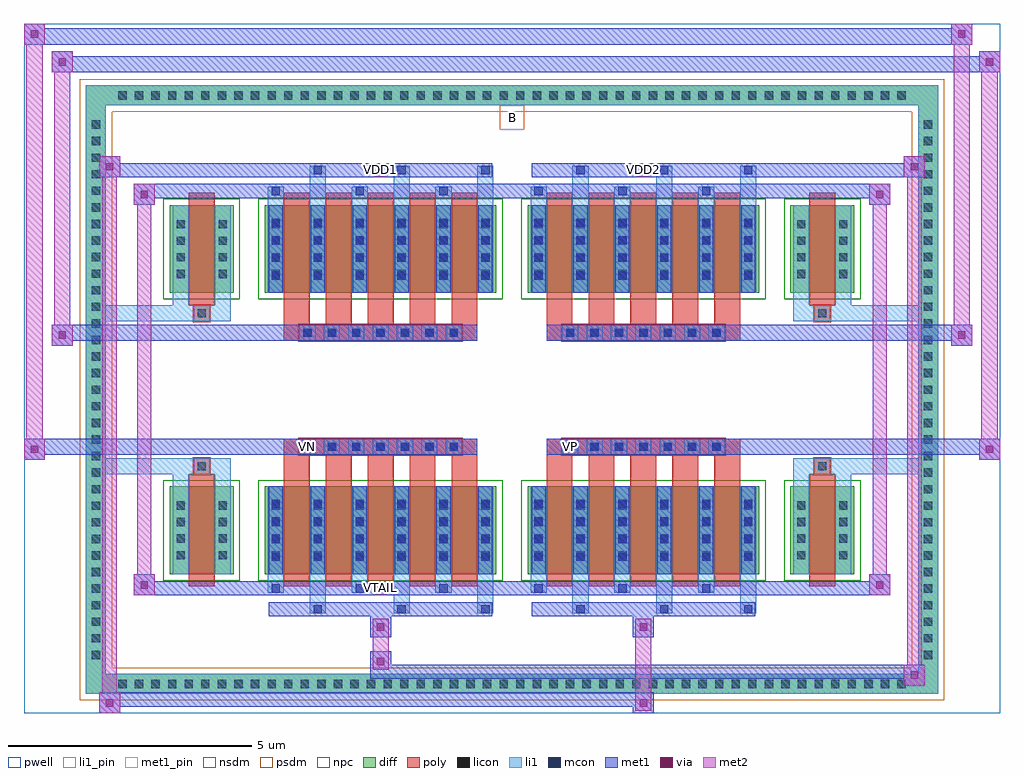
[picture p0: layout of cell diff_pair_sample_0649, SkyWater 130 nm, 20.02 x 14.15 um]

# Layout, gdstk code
import gdstk
lib = gdstk.Library(unit=1e-6, precision=5e-09)
def R(c, l, rs):  # rectangles x0, y0, x1, y1
    for r in rs: c.add(gdstk.rectangle(r[:2], r[2:], *l))
def A(c, l, x, y, w, h, nx, ny, dx, dy):  # array of equal rectangles
    R(c, l, [(x+i*dx, y+j*dy, x+i*dx+w, y+j*dy+h) for i in range(nx) for j in range(ny)])
def P(c, l, *ps):  # polygons
    for p in ps: c.add(gdstk.Polygon(p, *l))
pwell = (64, 44)
diff = (65, 20)
poly = (66, 20)
licon = (66, 44)
li1_pin = (67, 16)
li1 = (67, 20)
mcon = (67, 44)
met1_pin = (68, 16)
met1 = (68, 20)
via = (68, 44)
met2 = (69, 20)
nsdm = (93, 44)
psdm = (94, 20)
npc = (95, 20)

diff_pair_sample_0649 = lib.new_cell('diff_pair_sample_0649')
R(diff_pair_sample_0649, pwell, [(-10.01,-6.64,10.01,7.51), (-7.33,-4.83,-0.01,-0.805), (0.01,-4.83,7.33,-0.805), (-7.33,0.805,-0.01,4.83), (0.01,0.805,7.33,4.83)])
A(diff_pair_sample_0649, diff, -8.195, -6.24, 0.41, 0.41, 48, 2, 0.34, 12.07)
A(diff_pair_sample_0649, diff, -8.74, -5.645, 0.41, 0.41, 1, 33, 0, 0.34)
A(diff_pair_sample_0649, diff, 8.33, -5.645, 0.41, 0.41, 1, 33, 0, 0.34)
R(diff_pair_sample_0649, diff, [(-8.195,-6.24,8.195,-5.83), (-8.74,-5.645,-8.33,5.645), (8.33,-5.645,8.74,5.645), (-7.02,-3.785,-5.71,-1.985), (-5.07,-3.785,-0.32,-1.985), (0.32,-3.785,5.07,-1.985), (5.71,-3.785,7.02,-1.985), (-7.02,1.985,-5.71,3.785), (-5.07,1.985,-0.32,3.785), (0.32,1.985,5.07,3.785), (5.71,1.985,7.02,3.785), (-8.195,5.83,8.195,6.24)])
P(diff_pair_sample_0649, diff, [(8.74,6.24),(-8.74,6.24),(-8.74,-5.83),(-8.33,-5.83),(-8.33,5.83),(8.33,5.83),(8.33,-5.83),(-8.33,-5.83),(-8.74,-5.83),(-8.74,-6.24),(8.74,-6.24)])
A(diff_pair_sample_0649, poly, -4.68, -4.035, 0.53, 2.3, 5, 2, 0.86, 5.77)
A(diff_pair_sample_0649, poly, 0.71, -4.035, 0.53, 2.3, 5, 2, 0.86, 5.77)
A(diff_pair_sample_0649, poly, -4.68, -1.735, 0.53, 0.4, 5, 2, 0.86, 3.07)
A(diff_pair_sample_0649, poly, 0.71, -1.735, 0.53, 0.4, 5, 2, 0.86, 3.07)
A(diff_pair_sample_0649, poly, -4.36, -1.335, 0.33, 0.33, 7, 2, 0.5, 2.34)
A(diff_pair_sample_0649, poly, 1.03, -1.335, 0.33, 0.33, 7, 2, 0.5, 2.34)
R(diff_pair_sample_0649, poly, [(-6.63,-4.035,-6.1,-1.735), (6.1,-4.035,6.63,-1.735), (-6.53,-1.735,-6.2,-1.405), (-6.53,-1.735,-6.2,-1.405), (6.2,-1.735,6.53,-1.405), (6.2,-1.735,6.53,-1.405), (-4.68,-1.335,-0.71,-1.005), (0.71,-1.335,4.68,-1.005), (-4.68,1.005,-0.71,1.335), (0.71,1.005,4.68,1.335), (-6.53,1.405,-6.2,1.735), (-6.53,1.405,-6.2,1.735), (6.2,1.405,6.53,1.735), (6.2,1.405,6.53,1.735), (-6.63,1.735,-6.1,4.035), (6.1,1.735,6.63,4.035)])
A(diff_pair_sample_0649, licon, -8.075, -6.12, 0.17, 0.17, 48, 2, 0.34, 12.07)
A(diff_pair_sample_0649, licon, -8.62, -5.525, 0.17, 0.17, 1, 33, 0, 0.34)
A(diff_pair_sample_0649, licon, 8.45, -5.525, 0.17, 0.17, 1, 33, 0, 0.34)
A(diff_pair_sample_0649, licon, -6.88, -3.48, 0.17, 0.17, 1, 4, 0, 0.34)
A(diff_pair_sample_0649, licon, -6.02, -3.48, 0.17, 0.17, 1, 4, 0, 0.34)
A(diff_pair_sample_0649, licon, -4.93, -3.48, 0.17, 0.17, 6, 4, 0.86, 0.34)
A(diff_pair_sample_0649, licon, 0.46, -3.48, 0.17, 0.17, 6, 4, 0.86, 0.34)
A(diff_pair_sample_0649, licon, 5.85, -3.48, 0.17, 0.17, 1, 4, 0, 0.34)
A(diff_pair_sample_0649, licon, 6.71, -3.48, 0.17, 0.17, 1, 4, 0, 0.34)
A(diff_pair_sample_0649, licon, -4.28, -1.255, 0.17, 0.17, 7, 2, 0.5, 2.34)
A(diff_pair_sample_0649, licon, 1.11, -1.255, 0.17, 0.17, 7, 2, 0.5, 2.34)
A(diff_pair_sample_0649, licon, -6.88, 2.29, 0.17, 0.17, 1, 4, 0, 0.34)
A(diff_pair_sample_0649, licon, -6.02, 2.29, 0.17, 0.17, 1, 4, 0, 0.34)
A(diff_pair_sample_0649, licon, -4.93, 2.29, 0.17, 0.17, 6, 4, 0.86, 0.34)
A(diff_pair_sample_0649, licon, 0.46, 2.29, 0.17, 0.17, 6, 4, 0.86, 0.34)
A(diff_pair_sample_0649, licon, 5.85, 2.29, 0.17, 0.17, 1, 4, 0, 0.34)
A(diff_pair_sample_0649, licon, 6.71, 2.29, 0.17, 0.17, 1, 4, 0, 0.34)
R(diff_pair_sample_0649, licon, [(-6.45,-1.655,-6.28,-1.485), (6.28,-1.655,6.45,-1.485), (-6.45,1.485,-6.28,1.655), (6.28,1.485,6.45,1.655)])
R(diff_pair_sample_0649, li1_pin, [(-0.25,5.33,0.25,5.83)])
A(diff_pair_sample_0649, li1, -8.155, -6.2, 0.33, 0.33, 48, 2, 0.34, 12.07)
A(diff_pair_sample_0649, li1, -8.7, -5.605, 0.33, 0.33, 1, 33, 0, 0.34)
A(diff_pair_sample_0649, li1, 8.37, -5.605, 0.33, 0.33, 1, 33, 0, 0.34)
A(diff_pair_sample_0649, li1, -4.15, -4.59, 0.33, 0.805, 3, 2, 1.72, 8.375)
A(diff_pair_sample_0649, li1, -4.07, -4.59, 0.17, 0.17, 3, 2, 1.72, 9.01)
A(diff_pair_sample_0649, li1, 1.24, -4.59, 0.33, 0.805, 3, 2, 1.72, 8.375)
A(diff_pair_sample_0649, li1, 1.32, -4.59, 0.17, 0.17, 3, 2, 1.72, 9.01)
A(diff_pair_sample_0649, li1, -5.01, -4.16, 0.33, 0.375, 3, 2, 1.72, 7.945)
A(diff_pair_sample_0649, li1, -4.93, -4.16, 0.17, 0.17, 3, 2, 1.72, 8.15)
A(diff_pair_sample_0649, li1, 0.38, -4.16, 0.33, 0.375, 3, 2, 1.72, 7.945)
A(diff_pair_sample_0649, li1, 0.46, -4.16, 0.17, 0.17, 3, 2, 1.72, 8.15)
A(diff_pair_sample_0649, li1, -5.01, -3.785, 0.33, 1.8, 6, 2, 0.86, 5.77)
A(diff_pair_sample_0649, li1, 0.38, -3.785, 0.33, 1.8, 6, 2, 0.86, 5.77)
A(diff_pair_sample_0649, li1, -6.96, -3.56, 0.33, 0.33, 1, 4, 0, 0.34)
A(diff_pair_sample_0649, li1, -6.1, -3.56, 0.33, 0.33, 1, 4, 0, 0.34)
A(diff_pair_sample_0649, li1, -5.01, -3.56, 0.33, 0.33, 6, 4, 0.86, 0.34)
A(diff_pair_sample_0649, li1, 0.38, -3.56, 0.33, 0.33, 6, 4, 0.86, 0.34)
A(diff_pair_sample_0649, li1, 5.77, -3.56, 0.33, 0.33, 1, 4, 0, 0.34)
A(diff_pair_sample_0649, li1, 6.63, -3.56, 0.33, 0.33, 1, 4, 0, 0.34)
A(diff_pair_sample_0649, li1, -4.93, -3.51, 0.17, 0.17, 6, 4, 0.86, 0.36)
A(diff_pair_sample_0649, li1, -4.93, -3.51, 0.17, 1.25, 6, 2, 0.86, 5.77)
A(diff_pair_sample_0649, li1, 0.46, -3.51, 0.17, 0.17, 6, 4, 0.86, 0.36)
A(diff_pair_sample_0649, li1, 0.46, -3.51, 0.17, 1.25, 6, 2, 0.86, 5.77)
A(diff_pair_sample_0649, li1, -4.36, -1.335, 0.33, 0.33, 7, 2, 0.5, 2.34)
A(diff_pair_sample_0649, li1, 1.03, -1.335, 0.33, 0.33, 7, 2, 0.5, 2.34)
A(diff_pair_sample_0649, li1, -6.96, 2.21, 0.33, 0.33, 1, 4, 0, 0.34)
A(diff_pair_sample_0649, li1, -6.1, 2.21, 0.33, 0.33, 1, 4, 0, 0.34)
A(diff_pair_sample_0649, li1, -5.01, 2.21, 0.33, 0.33, 6, 4, 0.86, 0.34)
A(diff_pair_sample_0649, li1, 0.38, 2.21, 0.33, 0.33, 6, 4, 0.86, 0.34)
A(diff_pair_sample_0649, li1, 5.77, 2.21, 0.33, 0.33, 1, 4, 0, 0.34)
A(diff_pair_sample_0649, li1, 6.63, 2.21, 0.33, 0.33, 1, 4, 0, 0.34)
A(diff_pair_sample_0649, li1, -4.93, 2.26, 0.17, 0.17, 6, 4, 0.86, 0.36)
A(diff_pair_sample_0649, li1, 0.46, 2.26, 0.17, 0.17, 6, 4, 0.86, 0.36)
R(diff_pair_sample_0649, li1, [(-8.74,-6.24,-8.33,-5.83), (-8.74,-6.24,-8.33,-5.83), (-8.33,-6.24,8.33,-5.83), (8.33,-6.24,8.74,-5.83), (8.33,-6.24,8.74,-5.83), (-8.74,-5.83,-8.33,5.83), (8.33,-5.83,8.74,5.83), (-6.96,-3.785,-6.63,-1.985), (-6.1,-3.785,-5.77,-1.985), (5.77,-3.785,6.1,-1.985), (6.63,-3.785,6.96,-1.985), (-6.96,-1.985,-6.63,-1.405), (-6.1,-1.985,-5.77,-1.405), (5.77,-1.985,6.1,-1.405), (6.63,-1.985,6.96,-1.405), (-8.74,-1.735,-6.53,-1.405), (-6.96,-1.735,-6.53,-1.405), (-6.53,-1.735,-6.2,-1.405), (-6.2,-1.735,-5.77,-1.405), (5.77,-1.735,6.2,-1.405), (6.2,-1.735,6.53,-1.405), (6.2,-1.735,8.74,-1.405), (6.53,-1.735,6.96,-1.405), (-8.74,1.405,-6.53,1.735), (-6.96,1.405,-6.53,1.735), (-6.96,1.405,-6.63,1.985), (-6.53,1.405,-6.2,1.735), (-6.2,1.405,-5.77,1.735), (-6.1,1.405,-5.77,1.985), (5.77,1.405,6.2,1.735), (5.77,1.405,6.1,1.985), (6.2,1.405,6.53,1.735), (6.2,1.405,8.74,1.735), (6.53,1.405,6.96,1.735), (6.63,1.405,6.96,1.985), (-6.96,1.985,-6.63,3.785), (-6.1,1.985,-5.77,3.785), (5.77,1.985,6.1,3.785), (6.63,1.985,6.96,3.785), (-8.74,5.83,-8.33,6.24), (-8.74,5.83,-8.33,6.24), (-8.33,5.83,8.33,6.24), (8.33,5.83,8.74,6.24), (8.33,5.83,8.74,6.24)])
A(diff_pair_sample_0649, mcon, -4.07, -4.59, 0.17, 0.17, 3, 2, 1.72, 9.01)
A(diff_pair_sample_0649, mcon, 1.32, -4.59, 0.17, 0.17, 3, 2, 1.72, 9.01)
A(diff_pair_sample_0649, mcon, -4.93, -4.16, 0.17, 0.17, 3, 2, 1.72, 8.15)
A(diff_pair_sample_0649, mcon, 0.46, -4.16, 0.17, 0.17, 3, 2, 1.72, 8.15)
A(diff_pair_sample_0649, mcon, -4.93, -3.51, 0.17, 0.17, 6, 4, 0.86, 0.36)
A(diff_pair_sample_0649, mcon, 0.46, -3.51, 0.17, 0.17, 6, 4, 0.86, 0.36)
A(diff_pair_sample_0649, mcon, -4.28, -1.255, 0.17, 0.17, 7, 2, 0.5, 2.34)
A(diff_pair_sample_0649, mcon, 1.11, -1.255, 0.17, 0.17, 7, 2, 0.5, 2.34)
A(diff_pair_sample_0649, mcon, -4.93, 2.26, 0.17, 0.17, 6, 4, 0.86, 0.36)
A(diff_pair_sample_0649, mcon, 0.46, 2.26, 0.17, 0.17, 6, 4, 0.86, 0.36)
R(diff_pair_sample_0649, met1_pin, [(-2.83,-4.2,-2.56,-3.93), (-4.33,-1.295,-4.06,-1.025), (1.06,-1.295,1.33,-1.025), (-2.83,4.38,-2.56,4.65), (2.56,4.38,2.83,4.65)])
A(diff_pair_sample_0649, met1, -4.13, -4.65, 0.29, 0.29, 3, 2, 1.72, 9.01)
A(diff_pair_sample_0649, met1, 1.26, -4.65, 0.29, 0.29, 3, 2, 1.72, 9.01)
A(diff_pair_sample_0649, met1, -4.99, -4.22, 0.29, 0.29, 3, 2, 1.72, 8.15)
A(diff_pair_sample_0649, met1, 0.4, -4.22, 0.29, 0.29, 3, 2, 1.72, 8.15)
A(diff_pair_sample_0649, met1, -4.99, -3.785, 0.29, 1.8, 6, 2, 0.86, 5.77)
A(diff_pair_sample_0649, met1, 0.4, -3.785, 0.29, 1.8, 6, 2, 0.86, 5.77)
A(diff_pair_sample_0649, met1, -4.99, -3.57, 0.29, 0.29, 6, 4, 0.86, 0.36)
A(diff_pair_sample_0649, met1, 0.4, -3.57, 0.29, 0.29, 6, 4, 0.86, 0.36)
A(diff_pair_sample_0649, met1, -4.34, -1.315, 0.29, 0.29, 7, 2, 0.5, 2.34)
A(diff_pair_sample_0649, met1, 1.05, -1.315, 0.29, 0.29, 7, 2, 0.5, 2.34)
A(diff_pair_sample_0649, met1, -4.99, 2.2, 0.29, 0.29, 6, 4, 0.86, 0.36)
A(diff_pair_sample_0649, met1, 0.4, 2.2, 0.29, 0.29, 6, 4, 0.86, 0.36)
R(diff_pair_sample_0649, met1, [(-8.47,-6.64,-8.04,-6.21), (2.48,-6.64,2.91,-6.21), (-8.47,-6.5,2.91,-6.21), (8.04,-6.07,8.47,-5.64), (-2.91,-5.93,8.47,-5.64), (-2.91,-5.79,-2.48,-5.36), (-2.91,-5.08,-2.48,-4.65), (2.48,-5.08,2.91,-4.65), (-4.99,-4.65,-0.4,-4.36), (0.4,-4.65,4.99,-4.36), (-7.76,-4.22,-7.33,-3.79), (-7.76,-4.22,-4.99,-3.93), (-4.99,-4.22,-0.4,-3.93), (-0.4,-4.22,0.4,-3.93), (0.4,-4.22,4.99,-3.93), (4.99,-4.22,7.76,-3.93), (7.33,-4.22,7.76,-3.79), (-10.01,-1.435,-9.58,-1.005), (9.58,-1.435,10.01,-1.005), (-10.01,-1.335,-0.71,-1.005), (-4.68,-1.335,-0.71,-1.005), (0.71,-1.335,4.68,-1.005), (0.71,-1.335,10.01,-1.005), (-9.44,0.905,-9.01,1.335), (9.01,0.905,9.44,1.335), (-9.44,1.005,-4.68,1.335), (-4.68,1.005,-0.71,1.335), (0.71,1.005,4.68,1.335), (4.68,1.005,9.44,1.335), (-7.76,3.79,-7.33,4.22), (7.33,3.79,7.76,4.22), (-7.76,3.93,-4.99,4.22), (-4.99,3.93,-0.4,4.22), (-0.4,3.93,0.4,4.22), (0.4,3.93,4.99,4.22), (4.99,3.93,7.76,4.22), (-8.47,4.36,-8.04,4.79), (-8.47,4.36,-4.99,4.65), (-4.99,4.36,-0.4,4.65), (0.4,4.36,4.99,4.65), (4.99,4.36,8.47,4.65), (8.04,4.36,8.47,4.79), (-9.44,6.51,-9.01,6.94), (-9.44,6.51,-7.33,6.84), (-7.33,6.51,7.33,6.84), (7.33,6.51,10.01,6.84), (9.58,6.51,10.01,6.94), (-10.01,7.08,-9.58,7.51), (-10.01,7.08,-7.33,7.41), (-7.33,7.08,7.33,7.41), (7.33,7.08,9.44,7.41), (9.01,7.08,9.44,7.51)])
R(diff_pair_sample_0649, via, [(-8.33,-6.5,-8.18,-6.35), (2.62,-6.5,2.77,-6.35), (8.18,-5.93,8.33,-5.78), (-2.77,-5.65,-2.62,-5.5), (-2.77,-4.94,-2.62,-4.79), (2.62,-4.94,2.77,-4.79), (-7.62,-4.08,-7.47,-3.93), (7.47,-4.08,7.62,-3.93), (-9.87,-1.295,-9.72,-1.145), (9.72,-1.295,9.87,-1.145), (-9.3,1.045,-9.15,1.195), (9.15,1.045,9.3,1.195), (-7.62,3.93,-7.47,4.08), (7.47,3.93,7.62,4.08), (-8.33,4.5,-8.18,4.65), (8.18,4.5,8.33,4.65), (-9.3,6.65,-9.15,6.8), (9.72,6.65,9.87,6.8), (-9.87,7.22,-9.72,7.37), (9.15,7.22,9.3,7.37)])
R(diff_pair_sample_0649, met2, [(-8.47,-6.64,-8.04,-6.21), (-8.4,-6.64,-8.11,4.79), (-8.11,-6.64,-8.04,-6.21), (-8.42,-6.59,-8.09,-6.26), (2.53,-6.59,2.86,-6.26), (2.53,-6.26,2.86,-5.03), (8.04,-6.07,8.47,-5.64), (8.11,-6.07,8.4,4.79), (8.4,-6.07,8.47,-5.64), (8.09,-6.02,8.42,-5.69), (-2.86,-5.74,-2.53,-5.41), (-2.86,-5.41,-2.53,-5.03), (-2.86,-5.03,-2.53,-4.7), (2.53,-5.03,2.86,-4.7), (-7.76,-4.22,-7.33,-3.79), (-7.69,-4.22,-7.4,4.22), (-7.4,-4.22,-7.33,-3.79), (7.33,-4.22,7.76,-3.79), (7.4,-4.22,7.69,4.22), (7.69,-4.22,7.76,-3.79), (-7.71,-4.17,-7.38,-3.84), (7.38,-4.17,7.71,-3.84), (-10.01,-1.435,-9.58,-1.005), (-9.96,-1.435,-9.63,7.51), (-9.63,-1.435,-9.58,-1.005), (9.58,-1.435,10.01,-1.005), (9.63,-1.435,9.96,6.94), (9.96,-1.435,10.01,-1.005), (-9.96,-1.385,-9.63,-1.055), (9.63,-1.385,9.96,-1.055), (-9.44,0.905,-9.01,1.335), (-9.39,0.905,-9.06,6.94), (-9.06,0.905,-9.01,1.335), (9.01,0.905,9.44,1.335), (9.06,0.905,9.39,7.51), (9.39,0.905,9.44,1.335), (-9.39,0.955,-9.06,1.285), (9.06,0.955,9.39,1.285), (-7.76,3.79,-7.33,4.22), (-7.4,3.79,-7.33,4.22), (7.33,3.79,7.76,4.22), (7.69,3.79,7.76,4.22), (-7.71,3.84,-7.38,4.17), (7.38,3.84,7.71,4.17), (-8.47,4.36,-8.04,4.79), (-8.11,4.36,-8.04,4.79), (8.04,4.36,8.47,4.79), (8.4,4.36,8.47,4.79), (-8.42,4.41,-8.09,4.74), (8.09,4.41,8.42,4.74), (-9.44,6.51,-9.01,6.94), (-9.06,6.51,-9.01,6.94), (9.58,6.51,10.01,6.94), (9.96,6.51,10.01,6.94), (-9.39,6.56,-9.06,6.89), (9.63,6.56,9.96,6.89), (-10.01,7.08,-9.58,7.51), (-9.63,7.08,-9.58,7.51), (9.01,7.08,9.44,7.51), (9.39,7.08,9.44,7.51), (-9.96,7.13,-9.63,7.46), (9.06,7.13,9.39,7.46)])
R(diff_pair_sample_0649, nsdm, [(-7.15,-3.915,-5.58,-1.855), (-5.2,-3.915,-0.19,-1.855), (0.19,-3.915,5.2,-1.855), (5.58,-3.915,7.15,-1.855), (-7.15,1.855,-5.58,3.915), (-5.2,1.855,-0.19,3.915), (0.19,1.855,5.2,3.915), (5.58,1.855,7.15,3.915)])
P(diff_pair_sample_0649, psdm, [(8.87,6.37),(-8.87,6.37),(-8.87,-5.7),(-8.2,-5.7),(-8.2,5.7),(8.2,5.7),(8.2,-5.7),(-8.2,-5.7),(-8.87,-5.7),(-8.87,-6.37),(8.87,-6.37)])
A(diff_pair_sample_0649, npc, -4.38, -1.355, 0.37, 0.37, 7, 2, 0.5, 2.34)
A(diff_pair_sample_0649, npc, 1.01, -1.355, 0.37, 0.37, 7, 2, 0.5, 2.34)
R(diff_pair_sample_0649, npc, [(-6.55,-1.755,-6.18,-1.385), (6.18,-1.755,6.55,-1.385), (-4.38,-1.355,-3.51,-0.985), (-4.38,-1.355,-3.51,-0.985), (-3.88,-1.355,-3.01,-0.985), (-3.88,-1.355,-3.01,-0.985), (-3.38,-1.355,-2.51,-0.985), (-3.38,-1.355,-2.51,-0.985), (-2.88,-1.355,-2.01,-0.985), (-2.88,-1.355,-2.01,-0.985), (-2.38,-1.355,-1.51,-0.985), (-2.38,-1.355,-1.51,-0.985), (-1.88,-1.355,-1.01,-0.985), (-1.88,-1.355,-1.01,-0.985), (1.01,-1.355,1.88,-0.985), (1.01,-1.355,1.88,-0.985), (1.51,-1.355,2.38,-0.985), (1.51,-1.355,2.38,-0.985), (2.01,-1.355,2.88,-0.985), (2.01,-1.355,2.88,-0.985), (2.51,-1.355,3.38,-0.985), (2.51,-1.355,3.38,-0.985), (3.01,-1.355,3.88,-0.985), (3.01,-1.355,3.88,-0.985), (3.51,-1.355,4.38,-0.985), (3.51,-1.355,4.38,-0.985), (-4.38,0.985,-3.51,1.355), (-4.38,0.985,-3.51,1.355), (-3.88,0.985,-3.01,1.355), (-3.88,0.985,-3.01,1.355), (-3.38,0.985,-2.51,1.355), (-3.38,0.985,-2.51,1.355), (-2.88,0.985,-2.01,1.355), (-2.88,0.985,-2.01,1.355), (-2.38,0.985,-1.51,1.355), (-2.38,0.985,-1.51,1.355), (-1.88,0.985,-1.01,1.355), (-1.88,0.985,-1.01,1.355), (1.01,0.985,1.88,1.355), (1.01,0.985,1.88,1.355), (1.51,0.985,2.38,1.355), (1.51,0.985,2.38,1.355), (2.01,0.985,2.88,1.355), (2.01,0.985,2.88,1.355), (2.51,0.985,3.38,1.355), (2.51,0.985,3.38,1.355), (3.01,0.985,3.88,1.355), (3.01,0.985,3.88,1.355), (3.51,0.985,4.38,1.355), (3.51,0.985,4.38,1.355), (-6.55,1.385,-6.18,1.755), (6.18,1.385,6.55,1.755)])
diff_pair_sample_0649.add(gdstk.Label('VTAIL', (-2.695,-4.065), layer=68, texttype=5))
diff_pair_sample_0649.add(gdstk.Label('VN', (-4.195,-1.16), layer=68, texttype=5))
diff_pair_sample_0649.add(gdstk.Label('VP', (1.195,-1.16), layer=68, texttype=5))
diff_pair_sample_0649.add(gdstk.Label('B', (0,5.58), layer=67, texttype=5))
diff_pair_sample_0649.add(gdstk.Label('VDD2', (2.695,4.515), layer=68, texttype=5))
diff_pair_sample_0649.add(gdstk.Label('VDD1', (-2.695,4.515), layer=68, texttype=5))

lib.write_gds('diff_pair_sample_0649.gds')
